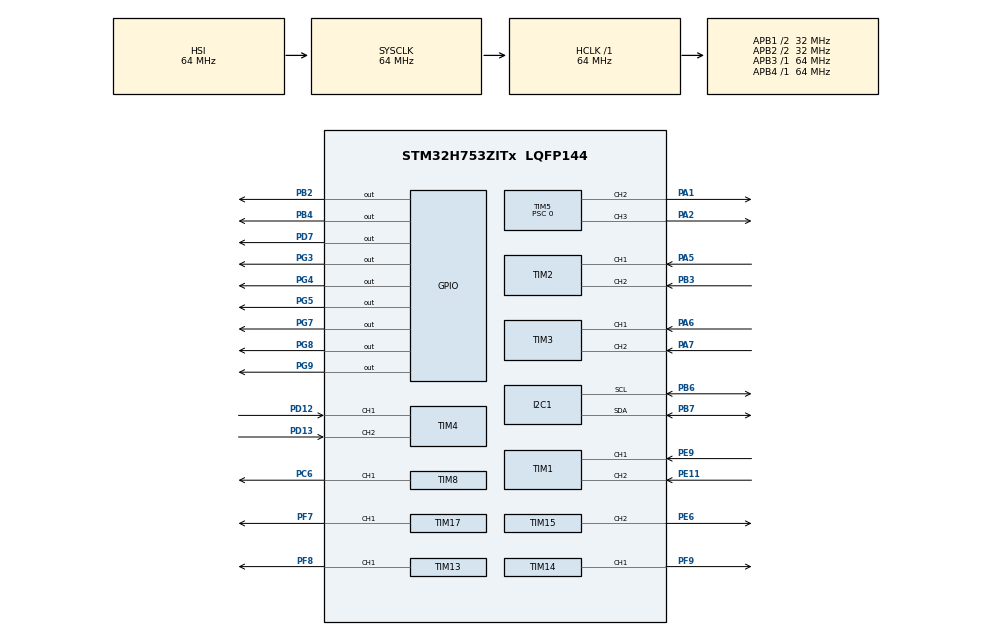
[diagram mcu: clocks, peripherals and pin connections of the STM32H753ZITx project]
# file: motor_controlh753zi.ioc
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CORTEX_M7.CPU_DCache=Disabled
CORTEX_M7.CPU_ICache=Disabled
CORTEX_M7.MPU_Control=MPU_PRIVILEGED_DEFAULT
CORTEX_M7.default_mode_Activation=1
I2C1.Timing=0x00707CBB
Mcu.Family=STM32H7
Mcu.Name=STM32H753ZITx
Mcu.Package=LQFP144
NUCLEO-H753ZI.BUTTON=1
NUCLEO-H753ZI.LD1=true
NUCLEO-H753ZI.LD2=true
NUCLEO-H753ZI.LD3=true
NUCLEO-H753ZI.VCP=true
NVIC.EXTI15_10_IRQn=true\:0\:0\:false\:false\:true\:false\:true\:true
NVIC.PriorityGroup=NVIC_PRIORITYGROUP_4
NVIC.TIM7_IRQn=true\:0\:0\:false\:false\:true\:true\:true\:true
PA1.Signal=S_TIM5_CH2
PA2.Signal=S_TIM5_CH3
PA5.Signal=S_TIM2_CH1_ETR
PA6.Signal=S_TIM3_CH1
PA7.Signal=S_TIM3_CH2
PB2.Signal=GPIO_Output
PB3\ (JTDO/TRACESWO).Signal=S_TIM2_CH2
PB4\ (NJTRST).Signal=GPIO_Output
PB6.Mode=I2C
PB6.Signal=I2C1_SCL
PB7.Mode=I2C
PB7.Signal=I2C1_SDA
PC14-OSC32_IN\ (OSC32_IN).Signal=RCC_OSC32_IN
PC15-OSC32_OUT\ (OSC32_OUT).Signal=RCC_OSC32_OUT
PC6.Signal=S_TIM8_CH1
PD12.Signal=S_TIM4_CH1
PD13.Signal=S_TIM4_CH2
PD7.Signal=GPIO_Output
PD8.Signal=USART3_TX
PD9.Signal=USART3_RX
PE11.GPIO_PuPd=GPIO_PULLUP
PE11.Signal=S_TIM1_CH2
PE6.Signal=S_TIM15_CH2
PE9.GPIO_PuPd=GPIO_PULLUP
PE9.Signal=S_TIM1_CH1
PF7.Signal=S_TIM17_CH1
PF8.Signal=S_TIM13_CH1
PF9.Signal=S_TIM14_CH1
PG3.Signal=GPIO_Output
PG4.Signal=GPIO_Output
PG5.Signal=GPIO_Output
PG7.Signal=GPIO_Output
PG8.Signal=GPIO_Output
PG9.Signal=GPIO_Output
PH0-OSC_IN\ (PH0).Signal=RCC_OSC_IN
PH1-OSC_OUT\ (PH1).Signal=RCC_OSC_OUT
ProjectManager.HeapSize=0x200
ProjectManager.StackSize=0x400
ProjectManager.TargetToolchain=STM32CubeIDE
RCC.ADCFreq_Value=129000000
RCC.APB1Freq_Value=32000000
RCC.APB2Freq_Value=32000000
RCC.APB3Freq_Value=64000000
RCC.APB4Freq_Value=64000000
RCC.CortexFreq_Value=64000000
RCC.D2PPRE1=RCC_APB1_DIV2
RCC.D2PPRE2=RCC_APB2_DIV2
RCC.DIVM1=1
RCC.DIVN1=24
RCC.DIVQ1=4
RCC.HCLKFreq_Value=64000000
RCC.HSE_VALUE=8000000
RCC.PLLFRACN=0
RCC.PWR_Regulator_Voltage_Scale=PWR_REGULATOR_VOLTAGE_SCALE2
RCC.SYSCLKFreq_VALUE=64000000
RCC.USBFreq_Value=384000000
SH.S_TIM13_CH1.0=TIM13_CH1,PWM Generation1 CH1
SH.S_TIM14_CH1.0=TIM14_CH1,PWM Generation1 CH1
SH.S_TIM15_CH2.0=TIM15_CH2,PWM Generation2 CH2
SH.S_TIM17_CH1.0=TIM17_CH1,PWM Generation1 CH1
SH.S_TIM1_CH1.0=TIM1_CH1,Encoder_Interface
SH.S_TIM1_CH2.0=TIM1_CH2,Encoder_Interface
SH.S_TIM2_CH1_ETR.0=TIM2_CH1,Encoder_Interface
SH.S_TIM2_CH2.0=TIM2_CH2,Encoder_Interface
SH.S_TIM3_CH1.0=TIM3_CH1,Encoder_Interface
SH.S_TIM3_CH2.0=TIM3_CH2,Encoder_Interface
SH.S_TIM4_CH1.0=TIM4_CH1,Encoder_Interface
SH.S_TIM4_CH2.0=TIM4_CH2,Encoder_Interface
SH.S_TIM5_CH2.0=TIM5_CH2,PWM Generation2 CH2
SH.S_TIM5_CH3.0=TIM5_CH3,PWM Generation3 CH3
SH.S_TIM8_CH1.0=TIM8_CH1,PWM Generation1 CH1
TIM1.EncoderMode=TIM_ENCODERMODE_TI12
TIM1.IC1Filter=10
TIM1.IC2Filter=10
TIM13.Channel=TIM_CHANNEL_1
TIM13.Period=3199
TIM13.Prescaler=0
TIM14.Channel=TIM_CHANNEL_1
TIM14.Period=3199
TIM14.Prescaler=0
TIM15.Channel-PWM\ Generation2\ CH2=TIM_CHANNEL_2
TIM15.Period=3199
TIM15.Prescaler=0
TIM17.Channel=TIM_CHANNEL_1
TIM17.Period=3199
TIM17.Prescaler=0
TIM2.EncoderMode=TIM_ENCODERMODE_TI12
TIM2.IC1Filter=5
TIM2.IC2Filter=5
TIM3.EncoderMode=TIM_ENCODERMODE_TI12
TIM3.IC1Filter=5
TIM3.IC2Filter=5
TIM4.EncoderMode=TIM_ENCODERMODE_TI12
TIM4.IC1Filter=5
TIM4.IC2Filter=5
TIM5.Channel-PWM\ Generation2\ CH2=TIM_CHANNEL_2
TIM5.Channel-PWM\ Generation3\ CH3=TIM_CHANNEL_3
TIM5.Period=3199
TIM5.Prescaler=0
TIM7.Period=999
TIM7.Prescaler=63
TIM8.Channel-PWM\ Generation1\ CH1=TIM_CHANNEL_1
VP_MEMORYMAP_VS_MEMORYMAP.Mode=CurAppReg
VP_NUCLEO-H753ZI_VS_BSP_COMMON.Mode=COMMON
VP_TIM13_VS_ClockSourceINT.Mode=Enable_Timer
VP_TIM14_VS_ClockSourceINT.Mode=Enable_Timer
VP_TIM17_VS_ClockSourceINT.Mode=Enable_Timer
VP_TIM7_VS_ClockSourceINT.Mode=Enable_Timer
board=NUCLEO-H753ZI

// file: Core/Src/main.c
/* USER CODE BEGIN Header */
/**
  ******************************************************************************
  * @file           : main.c
  * @brief          : Main program body
  ******************************************************************************
  * @attention
  *
  * Copyright (c) 2026 STMicroelectronics.
  * All rights reserved.
  *
  * This software is licensed under terms that can be found in the LICENSE file
  * in the root directory of this software component.
  * If no LICENSE file comes with this software, it is provided AS-IS.
  *
  ******************************************************************************
  */
/* USER CODE END Header */
#include "main.h"
#include "i2c.h"
#include "tim.h"
#include "gpio.h"

/* USER CODE BEGIN Includes */
#include "motor_control.h"
#include "gpio.h"
#include "tim.h"
#include <stdio.h>
/* USER CODE END Includes */

/* USER CODE BEGIN PD */

// Encoder mux (PCA9548A) and AS5600 reads now live in motor_control.cpp.
#define ENC_DEBUG_PRINT     1     // 1 = print all 4 encoder raw values once a second
#define ENC_PRINT_PERIOD_MS 1000

/* USER CODE END PD */

COM_InitTypeDef BspCOMInit;
__IO uint32_t BspButtonState = BUTTON_RELEASED;

/* USER CODE BEGIN PV */
volatile uint16_t encoder_raw_value = 0;
volatile HAL_StatusTypeDef i2c_status = HAL_OK;
volatile uint8_t magnet_status = 0;

/* USER CODE END PV */

void SystemClock_Config(void);
static void MPU_Config(void);

int main(void)
{

  /* MPU Configuration--------------------------------------------------------*/
  MPU_Config();

  /* MCU Configuration--------------------------------------------------------*/

  /* Reset of all peripherals, Initializes the Flash interface and the Systick. */
  HAL_Init();

  /* Configure the system clock */
  SystemClock_Config();

  /* Initialize all configured peripherals */
  MX_GPIO_Init();
  MX_TIM5_Init();
  MX_TIM13_Init();
  MX_TIM14_Init();
  MX_TIM15_Init();
  MX_TIM17_Init();
  MX_TIM1_Init();
  MX_TIM2_Init();
  MX_TIM3_Init();
  MX_TIM4_Init();
  MX_TIM7_Init();
  MX_I2C1_Init();
  MX_TIM8_Init();
  /* USER CODE BEGIN 2 */
  printf("\r\n=================================\r\n");
  printf("4x AS5600 Sensor System Starting\r\n");
  printf("=================================\r\n");
  HAL_TIM_PWM_Start(&htim13, TIM_CHANNEL_1);
  HAL_TIM_PWM_Start(&htim8, TIM_CHANNEL_1);
  HAL_TIM_PWM_Start(&htim14, TIM_CHANNEL_1);
  HAL_TIM_PWM_Start(&htim5, TIM_CHANNEL_3);
  HAL_TIM_PWM_Start(&htim15, TIM_CHANNEL_2);

  // No timer interrupt for control: Steer_Control_Task() runs from the main loop,
  // so the encoder I2C reads never race each other.
  MotorControl_Init();
  Steer_Control_Init();
  /* USER CODE END 2 */

  /* Initialize leds */
  BSP_LED_Init(LED_GREEN);
  BSP_LED_Init(LED_YELLOW);
  BSP_LED_Init(LED_RED);

  /* Initialize USER push-button, will be used to trigger an interrupt each time it's pressed.*/
  BSP_PB_Init(BUTTON_USER, BUTTON_MODE_EXTI);

  /* Initialize COM1 port (115200, 8 bits (7-bit data + 1 stop bit), no parity */
  BspCOMInit.BaudRate   = 115200;
  BspCOMInit.WordLength = COM_WORDLENGTH_8B;
  BspCOMInit.StopBits   = COM_STOPBITS_1;
  BspCOMInit.Parity     = COM_PARITY_NONE;
  BspCOMInit.HwFlowCtl  = COM_HWCONTROL_NONE;
  if (BSP_COM_Init(COM1, &BspCOMInit) != BSP_ERROR_NONE)
  {
    Error_Handler();
  }

  /* USER CODE BEGIN BSP */

  /* -- Sample board code to send message over COM1 port ---- */
  printf("Welcome to STM32 world !\n\r");

  /* -- Sample board code to switch on leds ---- */
  BSP_LED_On(LED_GREEN);
  BSP_LED_On(LED_YELLOW);
  BSP_LED_On(LED_RED);

  /* USER CODE END BSP */

  /* Infinite loop */
  /* USER CODE BEGIN WHILE */
  while (1)
  {

    /* -- Sample board code for User push-button in interrupt mode ---- */
    if (BspButtonState == BUTTON_PRESSED)
    {
      /* Update button state */
      BspButtonState = BUTTON_RELEASED;
      /* -- Sample board code to toggle leds ---- */
      BSP_LED_Toggle(LED_GREEN);
      BSP_LED_Toggle(LED_YELLOW);
      BSP_LED_Toggle(LED_RED);

      /* ..... Perform your action ..... */
    }

    // Reads all 4 encoders and runs the steering PID every 5 ms (non-blocking).
    Steer_Control_Task();

#if ENC_DEBUG_PRINT
    // ~45 chars at 115200 baud blocks ~4 ms once a second; the PID uses the
    // measured dt, so a late cycle is handled. Set ENC_DEBUG_PRINT 0 to drop it.
    static uint32_t lastPrint = 0;
    if (HAL_GetTick() - lastPrint >= ENC_PRINT_PERIOD_MS)
    {
      lastPrint = HAL_GetTick();
      printf("Enc raw: %4lu %4lu %4lu %4lu | ok 0x%lX\r\n",
             g_enc_raw[0], g_enc_raw[1], g_enc_raw[2], g_enc_raw[3], g_enc_ok);
    }
#endif

    /* USER CODE END WHILE */

  }
}

void SystemClock_Config(void)
{
  RCC_OscInitTypeDef RCC_OscInitStruct = {0};
  RCC_ClkInitTypeDef RCC_ClkInitStruct = {0};

  /** Supply configuration update enable
  */
  HAL_PWREx_ConfigSupply(PWR_LDO_SUPPLY);

  /** Configure the main internal regulator output voltage
  */
  __HAL_PWR_VOLTAGESCALING_CONFIG(PWR_REGULATOR_VOLTAGE_SCALE2);

  while(!__HAL_PWR_GET_FLAG(PWR_FLAG_VOSRDY)) {}

  /** Initializes the RCC Oscillators according to the specified parameters
  * in the RCC_OscInitTypeDef structure.
  */
  RCC_OscInitStruct.OscillatorType = RCC_OSCILLATORTYPE_HSI;
  RCC_OscInitStruct.HSIState = RCC_HSI_DIV1;
  RCC_OscInitStruct.HSICalibrationValue = RCC_HSICALIBRATION_DEFAULT;
  RCC_OscInitStruct.PLL.PLLState = RCC_PLL_NONE;
  if (HAL_RCC_OscConfig(&RCC_OscInitStruct) != HAL_OK)
  {
    Error_Handler();
  }

  /** Initializes the CPU, AHB and APB buses clocks
  */
  RCC_ClkInitStruct.ClockType = RCC_CLOCKTYPE_HCLK|RCC_CLOCKTYPE_SYSCLK
                              |RCC_CLOCKTYPE_PCLK1|RCC_CLOCKTYPE_PCLK2
                              |RCC_CLOCKTYPE_D3PCLK1|RCC_CLOCKTYPE_D1PCLK1;
  RCC_ClkInitStruct.SYSCLKSource = RCC_SYSCLKSOURCE_HSI;
  RCC_ClkInitStruct.SYSCLKDivider = RCC_SYSCLK_DIV1;
  RCC_ClkInitStruct.AHBCLKDivider = RCC_HCLK_DIV1;
  RCC_ClkInitStruct.APB3CLKDivider = RCC_APB3_DIV1;
  RCC_ClkInitStruct.APB1CLKDivider = RCC_APB1_DIV2;
  RCC_ClkInitStruct.APB2CLKDivider = RCC_APB2_DIV2;
  RCC_ClkInitStruct.APB4CLKDivider = RCC_APB4_DIV1;

  if (HAL_RCC_ClockConfig(&RCC_ClkInitStruct, FLASH_LATENCY_1) != HAL_OK)
  {
    Error_Handler();
  }
}

 /* MPU Configuration */

void MPU_Config(void)
{
  MPU_Region_InitTypeDef MPU_InitStruct = {0};

  /* Disables the MPU */
  HAL_MPU_Disable();

  /** Initializes and configures the Region and the memory to be protected
  */
  MPU_InitStruct.Enable = MPU_REGION_ENABLE;
  MPU_InitStruct.Number = MPU_REGION_NUMBER0;
  MPU_InitStruct.BaseAddress = 0x0;
  MPU_InitStruct.Size = MPU_REGION_SIZE_4GB;
  MPU_InitStruct.SubRegionDisable = 0x87;
  MPU_InitStruct.TypeExtField = MPU_TEX_LEVEL0;
  MPU_InitStruct.AccessPermission = MPU_REGION_NO_ACCESS;
  MPU_InitStruct.DisableExec = MPU_INSTRUCTION_ACCESS_DISABLE;
  MPU_InitStruct.IsShareable = MPU_ACCESS_SHAREABLE;
  MPU_InitStruct.IsCacheable = MPU_ACCESS_NOT_CACHEABLE;
  MPU_InitStruct.IsBufferable = MPU_ACCESS_NOT_BUFFERABLE;

  HAL_MPU_ConfigRegion(&MPU_InitStruct);
  /* Enables the MPU */
  HAL_MPU_Enable(MPU_PRIVILEGED_DEFAULT);

}

/**
  * @brief BSP Push Button callback
  * @param Button Specifies the pressed button
  * @retval None
  */
void BSP_PB_Callback(Button_TypeDef Button)
{
  if (Button == BUTTON_USER)
  {
    BspButtonState = BUTTON_PRESSED;
  }
}

void Error_Handler(void)
{
  __disable_irq();
  while (1)
  {
  }
}
